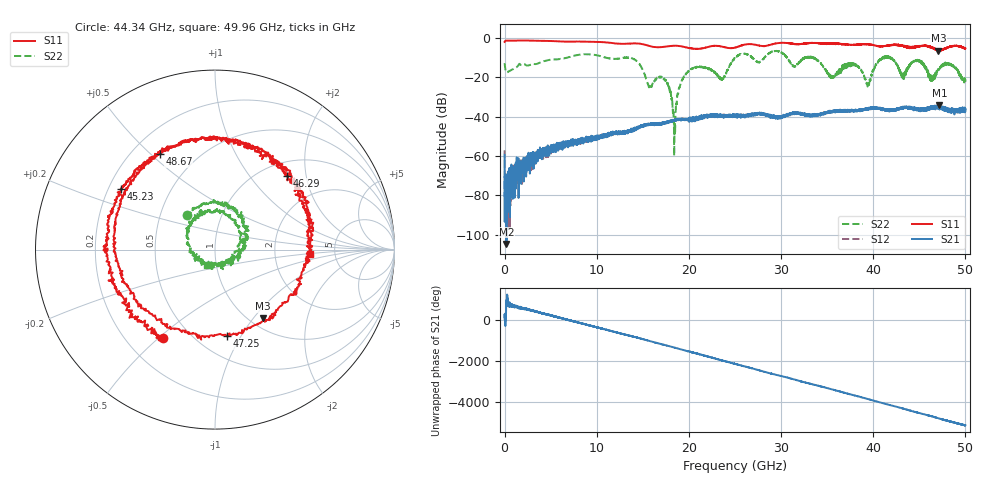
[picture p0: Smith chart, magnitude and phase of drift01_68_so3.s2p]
!Created with skrf (http://scikit-rf.org).
# Hz S RI R 50.0
!freq ReS11 ImS11 ReS21 ImS21 ReS12 ImS12 ReS22 ImS22
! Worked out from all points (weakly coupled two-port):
!   10001 points, 300 kHz to 50 GHz, reference 50 ohm
!   highest |S21| = -34.30 dB at 47.19 GHz (marker M1); lowest = -104.7 dB at 200.3 MHz (marker M2)
!   lowest |S11| = -6.6 dB at 47.07 GHz (marker M3), VSWR 2.75, Z = 57.2 - j56.1 ohm
!   |S11| at or under -10 dB: nowhere
!   |S22| runs from -59.9 to -6.6 dB; largest |S21 - S12| = 0.0042
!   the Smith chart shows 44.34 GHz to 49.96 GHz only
!   S11 on the Smith chart (normalised r, x): 44.34 GHz: 0.35, -0.52; 45.23 GHz: 0.25, +0.28; 46.29 GHz: 1.27, +1.56; 47.25 GHz: 0.69, -0.87; 48.67 GHz: 0.31, +0.53; 49.96 GHz: 3.24, -0.24
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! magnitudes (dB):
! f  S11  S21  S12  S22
! 300 kHz  -2.1  -59.4  -57.1  -12.9
! 200.3 MHz  -1.4  -104.7  -74.0  -17.5
! 8.335 GHz  -1.9  -51.7  -52.2  -8.5
! 16.67 GHz  -4.8  -43.3  -43.7  -19.9
! 17.75 GHz  -4.3  -43.1  -42.4  -24.4
! 18.45 GHz  -4.1  -41.9  -41.9  -44.2
! 19.95 GHz  -5.1  -41.7  -41.4  -17.0
! 23.63 GHz  -4.5  -40.1  -39.9  -20.7
! 25 GHz  -5.0  -39.1  -39.6  -10.2
! 33.34 GHz  -2.6  -39.2  -39.4  -10.0
! 39.44 GHz  -3.3  -35.8  -35.8  -23.7
! 41.67 GHz  -3.9  -36.6  -36.9  -10.3
! 43.23 GHz  -4.1  -35.7  -35.5  -20.4
! 44.34 GHz  -4.9  -35.6  -36.1  -12.2
! 45.23 GHz  -4.1  -36.7  -36.6  -13.0
! 46.29 GHz  -4.8  -35.1  -35.5  -20.6
! 47.07 GHz  -6.6  -35.5  -35.2  -16.1
! 47.19 GHz  -6.2  -34.3  -36.0  -15.6
! 47.25 GHz  -6.3  -36.1  -35.4  -15.0
! 48.67 GHz  -4.2  -37.9  -37.2  -14.1
! 49.96 GHz  -5.5  -35.8  -36.3  -20.3
! 50 GHz  -5.5  -37.3  -36.5  -22.4
